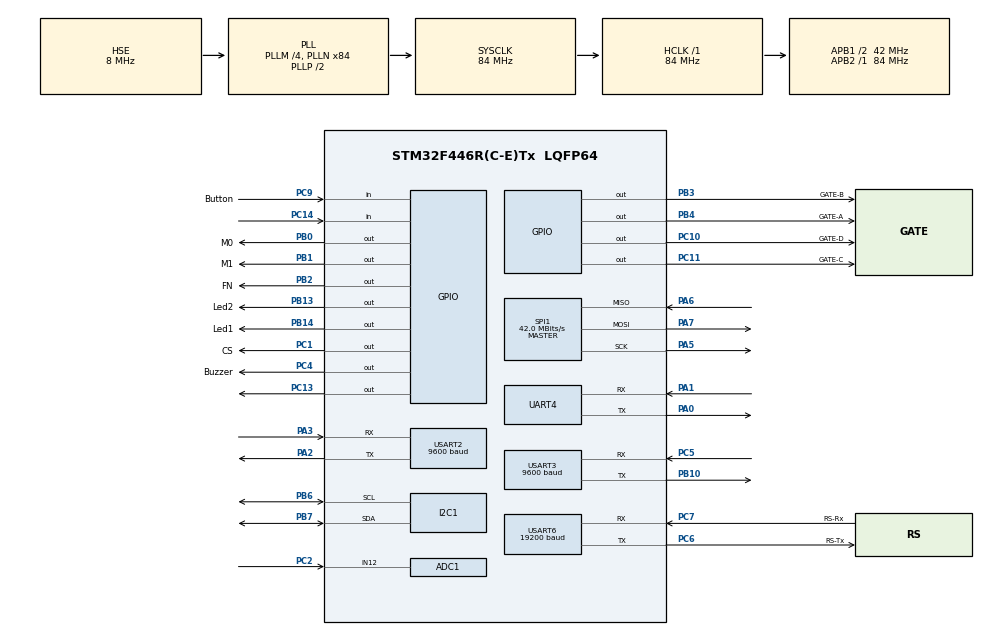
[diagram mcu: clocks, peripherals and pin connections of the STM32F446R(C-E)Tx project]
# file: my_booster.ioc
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ADC1.Channel-0\#ChannelRegularConversion=ADC_CHANNEL_12
ADC1.ContinuousConvMode=ENABLE
ADC1.NbrOfConversionFlag=1
ADC1.Rank-0\#ChannelRegularConversion=1
ADC1.SamplingTime-0\#ChannelRegularConversion=ADC_SAMPLETIME_3CYCLES
ADC1.master=1
Dma.Request0=USART3_TX
Dma.USART3_TX.0.Direction=DMA_MEMORY_TO_PERIPH
Dma.USART3_TX.0.FIFOMode=DMA_FIFOMODE_DISABLE
Dma.USART3_TX.0.Instance=DMA1_Stream3
Dma.USART3_TX.0.MemDataAlignment=DMA_MDATAALIGN_BYTE
Dma.USART3_TX.0.MemInc=DMA_MINC_ENABLE
Dma.USART3_TX.0.Mode=DMA_NORMAL
Dma.USART3_TX.0.PeriphDataAlignment=DMA_PDATAALIGN_BYTE
Dma.USART3_TX.0.PeriphInc=DMA_PINC_DISABLE
Dma.USART3_TX.0.Priority=DMA_PRIORITY_LOW
I2C1.I2C_Mode=I2C_Fast
Mcu.Family=STM32F4
Mcu.Name=STM32F446R(C-E)Tx
Mcu.Package=LQFP64
NVIC.ADC_IRQn=true\:0\:0\:false\:false\:true\:true\:true\:true
NVIC.DMA1_Stream3_IRQn=true\:0\:0\:false\:false\:true\:false\:true\:true
NVIC.PriorityGroup=NVIC_PRIORITYGROUP_4
NVIC.TIM2_IRQn=true\:0\:0\:false\:false\:true\:true\:true\:true
NVIC.TIM3_IRQn=true\:0\:0\:false\:false\:true\:true\:true\:true
NVIC.TIM4_IRQn=true\:0\:0\:false\:false\:true\:true\:true\:true
NVIC.UART4_IRQn=true\:1\:0\:true\:false\:true\:true\:true\:true
NVIC.USART2_IRQn=true\:2\:0\:true\:false\:true\:true\:true\:true
NVIC.USART3_IRQn=true\:0\:0\:false\:false\:true\:true\:true\:true
NVIC.USART6_IRQn=true\:0\:0\:false\:false\:true\:true\:true\:true
PA0-WKUP.Mode=Asynchronous
PA0-WKUP.Signal=UART4_TX
PA1.Mode=Asynchronous
PA1.Signal=UART4_RX
PA13.Mode=Serial_Wire
PA13.Signal=SYS_JTMS-SWDIO
PA14.Mode=Serial_Wire
PA14.Signal=SYS_JTCK-SWCLK
PA2.Mode=Asynchronous
PA2.Signal=USART2_TX
PA3.Mode=Asynchronous
PA3.Signal=USART2_RX
PA5.Mode=Full_Duplex_Master
PA5.Signal=SPI1_SCK
PA6.Mode=Full_Duplex_Master
PA6.Signal=SPI1_MISO
PA7.Mode=Full_Duplex_Master
PA7.Signal=SPI1_MOSI
PB0.GPIO_Label=M0
PB0.Signal=GPIO_Output
PB1.GPIO_Label=M1
PB1.Signal=GPIO_Output
PB10.Mode=Asynchronous
PB10.Signal=USART3_TX
PB13.GPIO_Label=Led2
PB13.Signal=GPIO_Output
PB14.GPIO_Label=Led1
PB14.Signal=GPIO_Output
PB2.GPIO_Label=FN
PB2.Signal=GPIO_Output
PB3.GPIO_Label=GATE-B
PB3.Signal=GPIO_Output
PB4.GPIO_Label=GATE-A
PB4.Signal=GPIO_Output
PB6.Mode=I2C
PB6.Signal=I2C1_SCL
PB7.Mode=I2C
PB7.Signal=I2C1_SDA
PC1.GPIO_Label=CS
PC1.Signal=GPIO_Output
PC10.GPIO_Label=GATE-D
PC10.Signal=GPIO_Output
PC11.GPIO_Label=GATE-C
PC11.Signal=GPIO_Output
PC13.Signal=GPIO_Output
PC14-OSC32_IN.Signal=GPIO_Input
PC2.Signal=ADCx_IN12
PC4.GPIO_Label=Buzzer
PC4.Signal=GPIO_Output
PC5.Mode=Asynchronous
PC5.Signal=USART3_RX
PC6.GPIO_Label=RS-Tx
PC6.Mode=Asynchronous
PC6.Signal=USART6_TX
PC7.GPIO_Label=RS-Rx
PC7.Mode=Asynchronous
PC7.Signal=USART6_RX
PC9.GPIO_Label=Button
PC9.Signal=GPIO_Input
PH0-OSC_IN.Mode=HSE-External-Oscillator
PH0-OSC_IN.Signal=RCC_OSC_IN
PH1-OSC_OUT.Mode=HSE-External-Oscillator
PH1-OSC_OUT.Signal=RCC_OSC_OUT
ProjectManager.HeapSize=0x200
ProjectManager.StackSize=0x400
ProjectManager.TargetToolchain=STM32CubeIDE
RCC.AHBFreq_Value=84000000
RCC.APB1CLKDivider=RCC_HCLK_DIV2
RCC.APB1Freq_Value=42000000
RCC.APB1TimFreq_Value=84000000
RCC.APB2Freq_Value=84000000
RCC.APB2TimFreq_Value=84000000
RCC.CortexFreq_Value=84000000
RCC.HCLKFreq_Value=84000000
RCC.HSE_VALUE=8000000
RCC.PLLM=4
RCC.PLLN=84
RCC.PLLSourceVirtual=RCC_PLLSOURCE_HSE
RCC.SYSCLKFreq_VALUE=84000000
RCC.SYSCLKSource=RCC_SYSCLKSOURCE_PLLCLK
RCC.USBFreq_Value=84000000
RCC.VCOOutputFreq_Value=168000000
SH.ADCx_IN12.0=ADC1_IN12,IN12
SPI1.CalculateBaudRate=42.0 MBits/s
SPI1.Direction=SPI_DIRECTION_2LINES
SPI1.Mode=SPI_MODE_MASTER
SPI1.VirtualType=VM_MASTER
TIM2.Period=25000-1
TIM2.Prescaler=8400
TIM3.Period=300-1
TIM3.Prescaler=8400
TIM4.Period=2000-1
TIM4.Prescaler=8400
UART4.VirtualMode=Asynchronous
USART2.BaudRate=9600
USART2.VirtualMode=VM_ASYNC
USART3.BaudRate=9600
USART3.VirtualMode=VM_ASYNC
USART6.BaudRate=19200
USART6.VirtualMode=VM_ASYNC
VP_TIM2_VS_ClockSourceINT.Mode=Internal
VP_TIM3_VS_ClockSourceINT.Mode=Internal
VP_TIM4_VS_ClockSourceINT.Mode=Internal
board=custom

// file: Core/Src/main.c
/* USER CODE BEGIN Header */
/**
  ******************************************************************************
  * @file           : main.c
  * @brief          : Main program body
  ******************************************************************************
  * @attention
  *
  * Copyright (c) 2024 STMicroelectronics.
  * All rights reserved.
  *
  * This software is licensed under terms that can be found in the LICENSE file
  * in the root directory of this software component.
  * If no LICENSE file comes with this software, it is provided AS-IS.
  *
  ******************************************************************************
  */
/* USER CODE END Header */
#include "main.h"

/* USER CODE BEGIN Includes */
#include "lwgps/lwgps.h"
#include "LSM6DSLTR.h"
#include "./BME280/bme280.h"
#include "W25Qxx.h"
#include <math.h>
#include "stdio.h"
#include "string.h"
#include "kalman.h"
#include <stdlib.h>
/* USER CODE END Includes */

/* USER CODE BEGIN PTD */
#define LORA_TX_BUFFER_SIZE 75
#define EGU_RX_BUFFER_SIZE 34
#define RX_BUFFER_SIZE 128
#define DEVICE_ID 1

#define GyroAlfa	0.2 //0.01
#define AccAlfa		0.4 // 0.1
#define HP_alpha 	0.92f // 0.8 en iyi
#define LP_alpha 	0.55f // 0.4 en iyi
#define beta		0.85

#define CMD_SET_REG 0xC0 // COMMAND FOR SETTING REGISTER
#define CMD_READ_REG 0xC1 // COMMAND FOR READING REGISTER
#define REG_ADD_H 0x0 // DEVICE ADDRESS HIGH BYTE
#define REG_ADD_L 0x1 // DEVICE ADDRESS LOW BYTE
#define REG0 0x2 // UART CONFIGURATION REGISTER
#define REG1 0x3 // RF CONFIGURATION REGISTER
#define REG2 0x4 // CHANNEL CONTROL
#define REG3 0x5 // TRANSMISSION PARAMETER CONTROL
/* USER CODE END PTD */

ADC_HandleTypeDef hadc1;

I2C_HandleTypeDef hi2c1;

SPI_HandleTypeDef hspi1;

TIM_HandleTypeDef htim2;
TIM_HandleTypeDef htim3;
TIM_HandleTypeDef htim4;

UART_HandleTypeDef huart4;
UART_HandleTypeDef huart2;
UART_HandleTypeDef huart3;
UART_HandleTypeDef huart6;
DMA_HandleTypeDef hdma_usart3_tx;

/* USER CODE BEGIN PV */
uint8_t Lora_Tx_Buffer[LORA_TX_BUFFER_SIZE];

uint8_t EGU_RX_BUFFER[EGU_RX_BUFFER_SIZE],
		rx_buffer_gps[RX_BUFFER_SIZE]	;

uint8_t rx_data_EGU=0 ,
		rx_data_gps=0 ;

uint8_t rx_index_EGU=0,
		rx_index_gps=0;

uint8_t flag_lora ,
		flag_megu ,
		flag_sensor_imu ,
		flag_sensor_barometre,
		flag_counter,
		flag_median,
		flag_new_imu_data,
		flag_new_barometre_data,
		flag_adc,
		flag_adc_cnt ,
		flag_rampa_altitude,
		flag_flash,
		flag_flash_200ms,
		flag_kontrol_5x;

float real_pitch, real_roll , toplam_pitch,toplam_roll , toplam_accX , toplam_accY , toplam_accZ, toplam_gX,toplam_gY,toplam_gZ ,rampa_accel,
toplam_normal,real_normal, x_max;
float offset_x,offset_y,offset_z, gyroX_prev, gyroY_prev,gyroZ_prev,
accX_prev, accY_prev,accZ_prev;
float filtered_gyroX ,filtered_gyroY,filtered_gyroZ, filtered_accX,
filtered_accY,filtered_accZ;
float filtered_gyro[3] , filtered_gyro_HP[3];
float filtered_acc_LP[3] , filtered_acc[3];
float gravity_normal_angle , prev_time1;

float gyroX_HP_prev = 0.0f, gyroY_HP_prev = 0.0f, gyroZ_HP_prev = 0.0f;
float filtered_gyro_HP_X = 0.0f, filtered_gyro_HP_Y = 0.0f, filtered_gyro_HP_Z = 0.0f;

float gyroX_LP_prev = 0.0f, gyroY_LP_prev = 0.0f, gyroZ_LP_prev = 0.0f , filtered_gyro_LP[3];

float pressure , temperature , humidity , altitude, altitude_kalman ,altitude_max, prev_alt , speed, speed_max, offset_altitude;
float adc, adc_pil_val;

int time,timer;
uint8_t battery;
/* USER CODE END PV */

void SystemClock_Config(void);
static void MX_GPIO_Init(void);
static void MX_DMA_Init(void);
static void MX_ADC1_Init(void);
static void MX_I2C1_Init(void);
static void MX_SPI1_Init(void);
static void MX_USART2_UART_Init(void);
static void MX_USART3_UART_Init(void);
static void MX_USART6_UART_Init(void);
static void MX_UART4_Init(void);
static void MX_TIM2_Init(void);
static void MX_TIM3_Init(void);
static void MX_TIM4_Init(void);
/* USER CODE BEGIN PFP */
void imu_offset(void);
void Altitude_Offset();
void user_delay_ms(uint32_t period);
void imu_filter_calculate();
void union_converter();

void HAL_ADC_ConvCpltCallback(ADC_HandleTypeDef* hadc);
void HAL_UART_RxCpltCallback(UART_HandleTypeDef *huart);
void HAL_TIM_PeriodElapsedCallback(TIM_HandleTypeDef *htim);

int8_t user_i2c_read(uint8_t id, uint8_t reg_addr, uint8_t *data, uint16_t len);
int8_t user_i2c_write(uint8_t id, uint8_t reg_addr, uint8_t *data, uint16_t len);
int8_t E220_read_register(uint8_t reg);
int8_t E220_write_register(uint8_t reg,uint8_t parameter);

float BME280_Get_Altitude(void);

/* USER CODE END PFP */

/* USER CODE BEGIN 0 */

typedef union{
  float fVal;
  unsigned char array[4];
}float2unit8;
float2unit8 conv;

enum ZORLU2024
{
	RAMPA,UCUS,BURNOUT,AYIR,AYRILDI_MI,AYRILDI,AYRILMADI,FINISH
};
enum ZORLU2024 BOOSTER;

lwgps_t gps;

KalmanFilter kf , na , pa , ax,ay,az,gx,gy,gz;

LSM6DSLTR Lsm_Sensor;

struct bme280_dev dev;
struct bme280_data comp_data;

int8_t rslt=0,receive_data;

/* USER CODE END 0 */

int main(void)
{

  /* MCU Configuration--------------------------------------------------------*/

  /* Reset of all peripherals, Initializes the Flash interface and the Systick. */
  HAL_Init();

  /* Configure the system clock */
  SystemClock_Config();

  /* Initialize all configured peripherals */
  MX_GPIO_Init();
  MX_DMA_Init();
  MX_ADC1_Init();
  MX_I2C1_Init();
  MX_SPI1_Init();
  MX_USART2_UART_Init();
  MX_USART3_UART_Init();
  MX_USART6_UART_Init();
  MX_UART4_Init();
  MX_TIM2_Init();
  MX_TIM3_Init();
  MX_TIM4_Init();
  /* USER CODE BEGIN 2 */

  HAL_Delay(100);
  receive_data =E220_write_register(0x2, 0x62);
  HAL_Delay(100);

   receive_data =E220_write_register(0x2, 0x64);
   HAL_Delay(100);
  receive_data =E220_write_register(0x3, 0x40);
  HAL_Delay(100);
  receive_data =E220_write_register(0x4, 0x10); // ch
  HAL_Delay(100);
  receive_data =E220_write_register(0x5, 0x40);//40
  HAL_Delay(100);
  receive_data =E220_write_register(0x6, 0x00);
  HAL_Delay(100);
  receive_data =E220_write_register(0x7, 0x00);
  HAL_Delay(100);
  receive_data =E220_write_register(0, 0x02); // h 0x06
  HAL_Delay(100);

  receive_data =E220_write_register(0x1, 0x03); // low 0x03
  HAL_Delay(200);

  receive_data = E220_read_register(0);
  HAL_Delay(100);
  receive_data = E220_read_register(1);
  HAL_Delay(100);
  HAL_GPIO_WritePin(GPIOB, GPIO_PIN_0, SET);//m0
  HAL_Delay(100);
  HAL_GPIO_WritePin(GPIOB, GPIO_PIN_1, RESET); //m1
  HAL_Delay(100);

  KalmanFilter_Init(&ax, 0.2, 2, toplam_accX);
  KalmanFilter_Init(&ay, 0.2, 2, toplam_accY);
  KalmanFilter_Init(&az, 0.2, 2, toplam_accZ);
  KalmanFilter_Init(&gx, 0.2, 2, toplam_gX);
  KalmanFilter_Init(&gy, 0.2, 2, toplam_gY);
  KalmanFilter_Init(&gz, 0.2, 2, toplam_gZ);
  KalmanFilter_Init(&kf, 0.2, 1, toplam_gZ);

  lwgps_init(&gps);

  LSM6DSLTR_Init();

  dev.dev_id = BME280_I2C_ADDR_PRIM;
  dev.intf = BME280_I2C_INTF;
  dev.read = user_i2c_read;
  dev.write = user_i2c_write;
  dev.delay_ms = user_delay_ms;
  rslt = bme280_init(&dev);

  dev.settings.osr_h = BME280_OVERSAMPLING_1X;
  dev.settings.osr_p = BME280_OVERSAMPLING_4X;
  dev.settings.osr_t = BME280_OVERSAMPLING_2X;
  dev.settings.filter = BME280_FILTER_COEFF_16;
  rslt = bme280_set_sensor_settings(BME280_OSR_PRESS_SEL | BME280_OSR_TEMP_SEL | BME280_OSR_HUM_SEL | BME280_FILTER_SEL, &dev);

  imu_offset();
  Altitude_Offset();

	Lora_Tx_Buffer[0]=0x06;
	Lora_Tx_Buffer[1]=0x03; // 2A
	Lora_Tx_Buffer[2]=0x10; // 10
	Lora_Tx_Buffer[3]=DEVICE_ID;
	Lora_Tx_Buffer[50]=0x32;// v4mod
	Lora_Tx_Buffer[74]='\n';

 // Buzzer_PlayStartSound();

  HAL_TIM_Base_Start_IT(&htim2);
  HAL_TIM_Base_Start_IT(&htim3);
  HAL_TIM_Base_Start_IT(&htim4);

  HAL_ADC_Start_IT(&hadc1);

  HAL_GPIO_TogglePin(GPIOC, GPIO_PIN_4);
  HAL_Delay(1000);
  HAL_GPIO_TogglePin(GPIOC, GPIO_PIN_4);
      HAL_Delay(1000);
    HAL_GPIO_TogglePin(GPIOC, GPIO_PIN_4);
      HAL_Delay(1000);
      HAL_GPIO_TogglePin(GPIOC, GPIO_PIN_4);

        HAL_Delay(1000);
        HAL_GPIO_TogglePin(GPIOC, GPIO_PIN_4);

          HAL_Delay(1000);

          HAL_GPIO_TogglePin(GPIOC, GPIO_PIN_4);
            HAL_Delay(1000);

            HAL_GPIO_TogglePin(GPIOC, GPIO_PIN_4);
              HAL_Delay(1000);
              HAL_GPIO_TogglePin(GPIOC, GPIO_PIN_4);
                HAL_Delay(1000);
                HAL_GPIO_TogglePin(GPIOC, GPIO_PIN_4);
                  HAL_Delay(1000);
                  HAL_GPIO_TogglePin(GPIOC, GPIO_PIN_4);
                    HAL_Delay(1000);
                    HAL_GPIO_WritePin(GPIOB, GPIO_PIN_4, SET);
                    HAL_Delay(100);
                    HAL_GPIO_WritePin(GPIOB, GPIO_PIN_4, RESET);
  /* USER CODE END 2 */

  /* Infinite loop */
  while (1)
  {

    /* USER CODE BEGIN 3 */
/*************************************************************************************/
	  if(flag_sensor_imu ==1)
	  {

		  	  	  LSM6DSLTR_Read_Accel_Data(&Lsm_Sensor);
		 	      LSM6DSLTR_Read_Gyro_Data(&Lsm_Sensor);

		 	      toplam_accX += KalmanFilter_Update(&ax,Lsm_Sensor.Accel_X);
		 	      toplam_accY += KalmanFilter_Update(&ay,Lsm_Sensor.Accel_Y );
		 	      toplam_accZ += KalmanFilter_Update(&az,Lsm_Sensor.Accel_Z );
		 	      toplam_gX +=  KalmanFilter_Update(&gx,Lsm_Sensor.Gyro_X-offset_x  );
		 	      toplam_gY +=  KalmanFilter_Update(&gy,Lsm_Sensor.Gyro_Y -offset_y );
		 	      toplam_gZ +=  KalmanFilter_Update(&gz,Lsm_Sensor.Gyro_Z -offset_z );

		 	      flag_median++;

		 	      if(flag_median == 10)
		 	      {
		 	    	  rampa_accel = toplam_accX/10.0;
		 	    	  imu_filter_calculate();
		 	    	  flag_median=0;
		 	    	  flag_new_imu_data=1;
		 	      }

		 	      flag_sensor_imu = 0;

	  }
/*************************************************************************************/
	  if(flag_sensor_barometre == 1){

	 		  prev_alt = altitude;
	 		  rslt = bme280_set_sensor_mode(BME280_FORCED_MODE, &dev);
	 		  rslt = bme280_get_sensor_data(BME280_ALL, &comp_data, &dev);
	 		  if(rslt == BME280_OK )
	 		  {
	 			  temperature = comp_data.temperature / 100.00;
	 			  humidity = comp_data.humidity;
	 			  pressure = comp_data.pressure;
	 			  altitude = BME280_Get_Altitude() - offset_altitude;
	 			  altitude_kalman = KalmanFilter_Update(&kf, altitude);
	 			 // speed_time = (HAL_GetTick()-speed_time_prev)/1000.0f;
	 			  speed = (altitude - prev_alt) * 3.33;
	 			 // speed_time_prev = speed_time;
	 			 flag_new_barometre_data=1;
	 		  }
	 		  flag_sensor_barometre =0;
	 	  }

/*************************************************************************************/
	  if((gps.seconds %4) ==0 && flag_lora ==1)
	  {
		  time = HAL_GetTick();
		  HAL_GPIO_WritePin(GPIOB, GPIO_PIN_0, SET);
		  HAL_GPIO_WritePin(GPIOB, GPIO_PIN_1, RESET);
		  union_converter();
		 // HAL_UART_Transmit(&huart3, Lora_Tx_Buffer, LORA_TX_BUFFER_SIZE, HAL_MAX_DELAY);
		  //HAL_UART_Transmit_IT(&huart3, Lora_Tx_Buffer, LORA_TX_BUFFER_SIZE);
		  HAL_UART_Transmit_DMA(&huart3, Lora_Tx_Buffer, LORA_TX_BUFFER_SIZE);
		  flag_lora=0;
	  }

/*************************************************************************************/

	  if(altitude>altitude_max) altitude_max = altitude;

	 	  if(speed>speed_max) speed_max = speed;

	 	  if( Lsm_Sensor.Accel_X> x_max) x_max =  Lsm_Sensor.Accel_X;

	 	  if(flag_adc >=20 && flag_adc_cnt ==1)
	 	  {
	 		  if(adc > 2476) adc = 2234;
	 		  if(adc < 1755) adc = 1755;
	 		  // 6V = 1755 adc val 1,41V
	 		  // 8.4V = 2476 adc val 1,99V 0,58V
	 		 adc_pil_val=(float)( ( ( (adc/4095)*3.3)-1.41) / (1.99-1.41) ) *100 ; // pil conv
	 		 // adc_pil_val = (adc-1755)/(2746-1755)*100;
	 		 battery = adc_pil_val;
	 		 flag_adc_cnt =0;
	 		 flag_adc=0;
	 		 HAL_ADC_Start_IT(&hadc1);
	 	  }

	      if(altitude_kalman > 100 ) flag_rampa_altitude =1;

/*************************************************************************************/

	  switch(BOOSTER){

		  case RAMPA:
		   	  if(rampa_accel >10 && flag_new_imu_data ==1)
			  {
				  flag_new_imu_data =0;
				  flag_kontrol_5x++;
			  }

			  if(flag_kontrol_5x >=3)
			  {
				  flag_kontrol_5x =0;
				  BOOSTER=UCUS;
			  }

			  break;

		  case UCUS:
			    timer=HAL_GetTick();
			  	BOOSTER=BURNOUT;
			   break;

		  case BURNOUT:

			  if( ((HAL_GetTick()-timer)>=4500 && flag_rampa_altitude ==1) || ((HAL_GetTick()-timer)==6500) )
			  {
				  flag_kontrol_5x++;
			  }
			  if(flag_kontrol_5x >=5)
			  {
				  flag_kontrol_5x=0;

				  BOOSTER=AYIR;
			  }
			   break;

		  case AYIR:
			  HAL_GPIO_WritePin(GPIOB, GPIO_PIN_4, SET);
			  BOOSTER=AYRILDI;
			  timer = HAL_GetTick();
			   break;

		  case AYRILDI_MI:
			  if(HAL_GPIO_ReadPin(GPIOC, GPIO_PIN_14) == 0 && HAL_GetTick()-timer >=1000)
			  {
				  BOOSTER=AYRILDI;

			  }
			  else if (HAL_GPIO_ReadPin(GPIOC, GPIO_PIN_14) == 1 &&  HAL_GetTick()-timer >=4000)
			  {
				  BOOSTER=AYRILMADI;
			  }

			   break;

		  case AYRILDI:
			  if(altitude < altitude_max  && flag_new_barometre_data ==1)
			  {
				  flag_new_barometre_data =0;
				  flag_kontrol_5x++;
			  }
			  if(flag_kontrol_5x >=10)
			  {
				HAL_GPIO_WritePin(GPIOB, GPIO_PIN_3, SET);
				HAL_GPIO_WritePin(GPIOB, GPIO_PIN_4, RESET);
				flag_kontrol_5x=0;
				BOOSTER=FINISH;
			  }

			   break;

		  case AYRILMADI:
			  if(altitude <= 500  && flag_new_barometre_data ==1)
			  {
				  flag_new_barometre_data =0;
				  flag_kontrol_5x++;
			  }
			  if(flag_kontrol_5x >=5)
			  {
				HAL_GPIO_WritePin(GPIOC, GPIO_PIN_10, SET);
				HAL_GPIO_WritePin(GPIOB, GPIO_PIN_4, RESET);
				flag_kontrol_5x=0;
				BOOSTER=FINISH;
			  }

			   break;

		  case FINISH:
			  HAL_GPIO_WritePin(GPIOB, GPIO_PIN_3, RESET);
			  HAL_GPIO_WritePin(GPIOC, GPIO_PIN_10, RESET);
				   break;
	  }

  }
  /* USER CODE END 3 */
}

void SystemClock_Config(void)
{
  RCC_OscInitTypeDef RCC_OscInitStruct = {0};
  RCC_ClkInitTypeDef RCC_ClkInitStruct = {0};

  /** Configure the main internal regulator output voltage
  */
  __HAL_RCC_PWR_CLK_ENABLE();
  __HAL_PWR_VOLTAGESCALING_CONFIG(PWR_REGULATOR_VOLTAGE_SCALE3);

  /** Initializes the RCC Oscillators according to the specified parameters
  * in the RCC_OscInitTypeDef structure.
  */
  RCC_OscInitStruct.OscillatorType = RCC_OSCILLATORTYPE_HSE;
  RCC_OscInitStruct.HSEState = RCC_HSE_ON;
  RCC_OscInitStruct.PLL.PLLState = RCC_PLL_ON;
  RCC_OscInitStruct.PLL.PLLSource = RCC_PLLSOURCE_HSE;
  RCC_OscInitStruct.PLL.PLLM = 4;
  RCC_OscInitStruct.PLL.PLLN = 84;
  RCC_OscInitStruct.PLL.PLLP = RCC_PLLP_DIV2;
  RCC_OscInitStruct.PLL.PLLQ = 2;
  RCC_OscInitStruct.PLL.PLLR = 2;
  if (HAL_RCC_OscConfig(&RCC_OscInitStruct) != HAL_OK)
  {
    Error_Handler();
  }

  /** Initializes the CPU, AHB and APB buses clocks
  */
  RCC_ClkInitStruct.ClockType = RCC_CLOCKTYPE_HCLK|RCC_CLOCKTYPE_SYSCLK
                              |RCC_CLOCKTYPE_PCLK1|RCC_CLOCKTYPE_PCLK2;
  RCC_ClkInitStruct.SYSCLKSource = RCC_SYSCLKSOURCE_PLLCLK;
  RCC_ClkInitStruct.AHBCLKDivider = RCC_SYSCLK_DIV1;
  RCC_ClkInitStruct.APB1CLKDivider = RCC_HCLK_DIV2;
  RCC_ClkInitStruct.APB2CLKDivider = RCC_HCLK_DIV1;

  if (HAL_RCC_ClockConfig(&RCC_ClkInitStruct, FLASH_LATENCY_2) != HAL_OK)
  {
    Error_Handler();
  }
}

static void MX_ADC1_Init(void)
{

  ADC_ChannelConfTypeDef sConfig = {0};

  /** Configure the global features of the ADC (Clock, Resolution, Data Alignment and number of conversion)
  */
  hadc1.Instance = ADC1;
  hadc1.Init.ClockPrescaler = ADC_CLOCK_SYNC_PCLK_DIV4;
  hadc1.Init.Resolution = ADC_RESOLUTION_12B;
  hadc1.Init.ScanConvMode = DISABLE;
  hadc1.Init.ContinuousConvMode = ENABLE;
  hadc1.Init.DiscontinuousConvMode = DISABLE;
  hadc1.Init.ExternalTrigConvEdge = ADC_EXTERNALTRIGCONVEDGE_NONE;
  hadc1.Init.ExternalTrigConv = ADC_SOFTWARE_START;
  hadc1.Init.DataAlign = ADC_DATAALIGN_RIGHT;
  hadc1.Init.NbrOfConversion = 1;
  hadc1.Init.DMAContinuousRequests = DISABLE;
  hadc1.Init.EOCSelection = ADC_EOC_SINGLE_CONV;
  if (HAL_ADC_Init(&hadc1) != HAL_OK)
  {
    Error_Handler();
  }

  /** Configure for the selected ADC regular channel its corresponding rank in the sequencer and its sample time.
  */
  sConfig.Channel = ADC_CHANNEL_12;
  sConfig.Rank = 1;
  sConfig.SamplingTime = ADC_SAMPLETIME_3CYCLES;
  if (HAL_ADC_ConfigChannel(&hadc1, &sConfig) != HAL_OK)
  {
    Error_Handler();
  }

}

static void MX_I2C1_Init(void)
{

  hi2c1.Instance = I2C1;
  hi2c1.Init.ClockSpeed = 400000;
  hi2c1.Init.DutyCycle = I2C_DUTYCYCLE_2;
  hi2c1.Init.OwnAddress1 = 0;
  hi2c1.Init.AddressingMode = I2C_ADDRESSINGMODE_7BIT;
  hi2c1.Init.DualAddressMode = I2C_DUALADDRESS_DISABLE;
  hi2c1.Init.OwnAddress2 = 0;
  hi2c1.Init.GeneralCallMode = I2C_GENERALCALL_DISABLE;
  hi2c1.Init.NoStretchMode = I2C_NOSTRETCH_DISABLE;
  if (HAL_I2C_Init(&hi2c1) != HAL_OK)
  {
    Error_Handler();
  }

}

static void MX_SPI1_Init(void)
{

  /* SPI1 parameter configuration*/
  hspi1.Instance = SPI1;
  hspi1.Init.Mode = SPI_MODE_MASTER;
  hspi1.Init.Direction = SPI_DIRECTION_2LINES;
  hspi1.Init.DataSize = SPI_DATASIZE_8BIT;
  hspi1.Init.CLKPolarity = SPI_POLARITY_LOW;
  hspi1.Init.CLKPhase = SPI_PHASE_1EDGE;
  hspi1.Init.NSS = SPI_NSS_SOFT;
  hspi1.Init.BaudRatePrescaler = SPI_BAUDRATEPRESCALER_2;
  hspi1.Init.FirstBit = SPI_FIRSTBIT_MSB;
  hspi1.Init.TIMode = SPI_TIMODE_DISABLE;
  hspi1.Init.CRCCalculation = SPI_CRCCALCULATION_DISABLE;
  hspi1.Init.CRCPolynomial = 10;
  if (HAL_SPI_Init(&hspi1) != HAL_OK)
  {
    Error_Handler();
  }

}

static void MX_TIM2_Init(void)
{

  TIM_ClockConfigTypeDef sClockSourceConfig = {0};
  TIM_MasterConfigTypeDef sMasterConfig = {0};

  htim2.Instance = TIM2;
  htim2.Init.Prescaler = 8400;
  htim2.Init.CounterMode = TIM_COUNTERMODE_UP;
  htim2.Init.Period = 25000-1;
  htim2.Init.ClockDivision = TIM_CLOCKDIVISION_DIV1;
  htim2.Init.AutoReloadPreload = TIM_AUTORELOAD_PRELOAD_DISABLE;
  if (HAL_TIM_Base_Init(&htim2) != HAL_OK)
  {
    Error_Handler();
  }
  sClockSourceConfig.ClockSource = TIM_CLOCKSOURCE_INTERNAL;
  if (HAL_TIM_ConfigClockSource(&htim2, &sClockSourceConfig) != HAL_OK)
  {
    Error_Handler();
  }
  sMasterConfig.MasterOutputTrigger = TIM_TRGO_RESET;
  sMasterConfig.MasterSlaveMode = TIM_MASTERSLAVEMODE_DISABLE;
  if (HAL_TIMEx_MasterConfigSynchronization(&htim2, &sMasterConfig) != HAL_OK)
  {
    Error_Handler();
  }

}

static void MX_TIM3_Init(void)
{

  TIM_ClockConfigTypeDef sClockSourceConfig = {0};
  TIM_MasterConfigTypeDef sMasterConfig = {0};

  htim3.Instance = TIM3;
  htim3.Init.Prescaler = 8400;
  htim3.Init.CounterMode = TIM_COUNTERMODE_UP;
  htim3.Init.Period = 300-1;
  htim3.Init.ClockDivision = TIM_CLOCKDIVISION_DIV1;
  htim3.Init.AutoReloadPreload = TIM_AUTORELOAD_PRELOAD_DISABLE;
  if (HAL_TIM_Base_Init(&htim3) != HAL_OK)
  {
    Error_Handler();
  }
  sClockSourceConfig.ClockSource = TIM_CLOCKSOURCE_INTERNAL;
  if (HAL_TIM_ConfigClockSource(&htim3, &sClockSourceConfig) != HAL_OK)
  {
    Error_Handler();
  }
  sMasterConfig.MasterOutputTrigger = TIM_TRGO_RESET;
  sMasterConfig.MasterSlaveMode = TIM_MASTERSLAVEMODE_DISABLE;
  if (HAL_TIMEx_MasterConfigSynchronization(&htim3, &sMasterConfig) != HAL_OK)
  {
    Error_Handler();
  }

}

static void MX_TIM4_Init(void)
{

  TIM_ClockConfigTypeDef sClockSourceConfig = {0};
  TIM_MasterConfigTypeDef sMasterConfig = {0};

  htim4.Instance = TIM4;
  htim4.Init.Prescaler = 8400;
  htim4.Init.CounterMode = TIM_COUNTERMODE_UP;
  htim4.Init.Period = 2000-1;
  htim4.Init.ClockDivision = TIM_CLOCKDIVISION_DIV1;
  htim4.Init.AutoReloadPreload = TIM_AUTORELOAD_PRELOAD_DISABLE;
  if (HAL_TIM_Base_Init(&htim4) != HAL_OK)
  {
    Error_Handler();
  }
  sClockSourceConfig.ClockSource = TIM_CLOCKSOURCE_INTERNAL;
  if (HAL_TIM_ConfigClockSource(&htim4, &sClockSourceConfig) != HAL_OK)
  {
    Error_Handler();
  }
  sMasterConfig.MasterOutputTrigger = TIM_TRGO_RESET;
  sMasterConfig.MasterSlaveMode = TIM_MASTERSLAVEMODE_DISABLE;
  if (HAL_TIMEx_MasterConfigSynchronization(&htim4, &sMasterConfig) != HAL_OK)
  {
    Error_Handler();
  }

}

static void MX_UART4_Init(void)
{

  huart4.Instance = UART4;
  huart4.Init.BaudRate = 115200;
  huart4.Init.WordLength = UART_WORDLENGTH_8B;
  huart4.Init.StopBits = UART_STOPBITS_1;
  huart4.Init.Parity = UART_PARITY_NONE;
  huart4.Init.Mode = UART_MODE_TX_RX;
  huart4.Init.HwFlowCtl = UART_HWCONTROL_NONE;
  huart4.Init.OverSampling = UART_OVERSAMPLING_16;
  if (HAL_UART_Init(&huart4) != HAL_OK)
  {
    Error_Handler();
  }

}

static void MX_USART2_UART_Init(void)
{

  huart2.Instance = USART2;
  huart2.Init.BaudRate = 9600;
  huart2.Init.WordLength = UART_WORDLENGTH_8B;
  huart2.Init.StopBits = UART_STOPBITS_1;
  huart2.Init.Parity = UART_PARITY_NONE;
  huart2.Init.Mode = UART_MODE_TX_RX;
  huart2.Init.HwFlowCtl = UART_HWCONTROL_NONE;
  huart2.Init.OverSampling = UART_OVERSAMPLING_16;
  if (HAL_UART_Init(&huart2) != HAL_OK)
  {
    Error_Handler();
  }

}

static void MX_USART3_UART_Init(void)
{

  huart3.Instance = USART3;
  huart3.Init.BaudRate = 9600;
  huart3.Init.WordLength = UART_WORDLENGTH_8B;
  huart3.Init.StopBits = UART_STOPBITS_1;
  huart3.Init.Parity = UART_PARITY_NONE;
  huart3.Init.Mode = UART_MODE_TX_RX;
  huart3.Init.HwFlowCtl = UART_HWCONTROL_NONE;
  huart3.Init.OverSampling = UART_OVERSAMPLING_16;
  if (HAL_UART_Init(&huart3) != HAL_OK)
  {
    Error_Handler();
  }

}

static void MX_USART6_UART_Init(void)
{

  huart6.Instance = USART6;
  huart6.Init.BaudRate = 19200;
  huart6.Init.WordLength = UART_WORDLENGTH_8B;
  huart6.Init.StopBits = UART_STOPBITS_1;
  huart6.Init.Parity = UART_PARITY_NONE;
  huart6.Init.Mode = UART_MODE_TX_RX;
  huart6.Init.HwFlowCtl = UART_HWCONTROL_NONE;
  huart6.Init.OverSampling = UART_OVERSAMPLING_16;
  if (HAL_UART_Init(&huart6) != HAL_OK)
  {
    Error_Handler();
  }

}

static void MX_DMA_Init(void)
{

  /* DMA controller clock enable */
  __HAL_RCC_DMA1_CLK_ENABLE();

  /* DMA interrupt init */
  /* DMA1_Stream3_IRQn interrupt configuration */
  HAL_NVIC_SetPriority(DMA1_Stream3_IRQn, 0, 0);
  HAL_NVIC_EnableIRQ(DMA1_Stream3_IRQn);

}

static void MX_GPIO_Init(void)
{
  GPIO_InitTypeDef GPIO_InitStruct = {0};

  /* GPIO Ports Clock Enable */
  __HAL_RCC_GPIOC_CLK_ENABLE();
  __HAL_RCC_GPIOH_CLK_ENABLE();
  __HAL_RCC_GPIOA_CLK_ENABLE();
  __HAL_RCC_GPIOB_CLK_ENABLE();

  /*Configure GPIO pin Output Level */
  HAL_GPIO_WritePin(GPIOC, GPIO_PIN_13|CS_Pin|Buzzer_Pin|GATE_D_Pin
                          |GATE_C_Pin, GPIO_PIN_RESET);

  /*Configure GPIO pin Output Level */
  HAL_GPIO_WritePin(GPIOB, M0_Pin|M1_Pin|FN_Pin|Led2_Pin
                          |Led1_Pin|GATE_B_Pin|GATE_A_Pin, GPIO_PIN_RESET);

  /*Configure GPIO pins : PC13 CS_Pin Buzzer_Pin GATE_D_Pin
                           GATE_C_Pin */
  GPIO_InitStruct.Pin = GPIO_PIN_13|CS_Pin|Buzzer_Pin|GATE_D_Pin
                          |GATE_C_Pin;
  GPIO_InitStruct.Mode = GPIO_MODE_OUTPUT_PP;
  GPIO_InitStruct.Pull = GPIO_NOPULL;
  GPIO_InitStruct.Speed = GPIO_SPEED_FREQ_LOW;
  HAL_GPIO_Init(GPIOC, &GPIO_InitStruct);

  /*Configure GPIO pins : PC14 Button_Pin */
  GPIO_InitStruct.Pin = GPIO_PIN_14|Button_Pin;
  GPIO_InitStruct.Mode = GPIO_MODE_INPUT;
  GPIO_InitStruct.Pull = GPIO_NOPULL;
  HAL_GPIO_Init(GPIOC, &GPIO_InitStruct);

  /*Configure GPIO pins : M0_Pin M1_Pin FN_Pin Led2_Pin
                           Led1_Pin GATE_B_Pin GATE_A_Pin */
  GPIO_InitStruct.Pin = M0_Pin|M1_Pin|FN_Pin|Led2_Pin
                          |Led1_Pin|GATE_B_Pin|GATE_A_Pin;
  GPIO_InitStruct.Mode = GPIO_MODE_OUTPUT_PP;
  GPIO_InitStruct.Pull = GPIO_NOPULL;
  GPIO_InitStruct.Speed = GPIO_SPEED_FREQ_LOW;
  HAL_GPIO_Init(GPIOB, &GPIO_InitStruct);

}

/* USER CODE BEGIN 4 */
void HAL_TIM_PeriodElapsedCallback(TIM_HandleTypeDef *htim)
{

	if(htim==&htim2)// Lora timer
	{
		flag_lora=1;
	}

	if(htim==&htim3)// sensor timer 30ms
	{
		flag_sensor_imu=1;

		flag_counter++;
		if(flag_counter == 10)
		{
			flag_sensor_barometre =1;
			flag_counter=0;
		}
	}

	if(htim==&htim4)// megü timer
	{
		flag_megu=1;
		flag_adc++;
		flag_flash_200ms=1;
	}

}

void HAL_UART_RxCpltCallback(UART_HandleTypeDef *huart)
{
	if(huart==&huart2){
	if(rx_data_gps != '\n' && rx_index_gps < RX_BUFFER_SIZE) {
		rx_buffer_gps[rx_index_gps++] = rx_data_gps;
	} else {
		lwgps_process(&gps, rx_buffer_gps, rx_index_gps+1);
		rx_index_gps = 0;
		rx_data_gps = 0;
	}
	HAL_UART_Receive_IT(&huart2, &rx_data_gps, 1);
	}

	if(huart == &huart6){
		if(rx_data_EGU != '\n' && rx_index_EGU <34){//sol taraf silinebilir
			EGU_RX_BUFFER[rx_index_EGU++]=rx_data_EGU;

		}
		else
		{
			rx_data_EGU=0;
			rx_index_EGU=0;

		}
	HAL_UART_Receive_IT(&huart6, &rx_data_EGU, 1);
		}
}

void HAL_ADC_ConvCpltCallback(ADC_HandleTypeDef* hadc)
{
	if(hadc->Instance == ADC1 )
	{
		adc= HAL_ADC_GetValue(&hadc1);
		flag_adc_cnt = 1;
	}
}

int8_t E220_write_register(uint8_t reg,uint8_t parameter)
{

	HAL_GPIO_WritePin(GPIOB, GPIO_PIN_0, SET);
	HAL_GPIO_WritePin(GPIOB, GPIO_PIN_1, SET);

	HAL_Delay(3);

	uint8_t send_data[4]={CMD_SET_REG,reg,1,parameter};
	uint8_t receive_data[4]={0};

	HAL_UART_Transmit(&huart3,send_data ,4, 100);
	HAL_UART_Receive(&huart3, receive_data, 4, 100);

	if(receive_data[0]==CMD_READ_REG && receive_data[1]==reg && receive_data[2]==1 && receive_data[3] == parameter)
		return receive_data[3];
	else
		return -1;

}
int8_t E220_read_register(uint8_t reg)
{

	uint8_t send_data[3]={CMD_READ_REG,reg,1};
	uint8_t receive_data[4]={0};
	HAL_UART_Transmit(&huart3,send_data ,3, 100);

	HAL_UART_Receive(&huart3, receive_data, 4, 100);

	if(receive_data[0]==CMD_READ_REG && receive_data[1]==reg && receive_data[2]==1)
		return receive_data[3];
	else
		return -1;
}

void imu_offset(void)

{
	  for(int i = 0; i<5;i++)
	  {

		      LSM6DSLTR_Read_Gyro_Data(&Lsm_Sensor);

		      offset_x += Lsm_Sensor.Gyro_X;
			  offset_y += Lsm_Sensor.Gyro_Y;
			  offset_z += Lsm_Sensor.Gyro_Z;
			  HAL_Delay(10);
	  }
	  offset_x=offset_x/5;
	  offset_y=offset_y/5;
	  offset_z=offset_z/5;
}

void imu_filter_calculate()
{
	  filtered_gyro_LP[0] = LP_alpha * toplam_gX/10.0f + (1.0 - LP_alpha) * gyroX_LP_prev;
	  filtered_gyro_LP[1] = LP_alpha * toplam_gY/10.0f + (1.0 - LP_alpha) * gyroY_LP_prev ;
	  filtered_gyro_LP[2] = LP_alpha * toplam_gZ/10.0f + (1.0 - LP_alpha) * gyroZ_LP_prev;

	/*************************** ********************************/
	  filtered_gyro_HP_X = beta * (gyroX_HP_prev +  filtered_gyro_LP[0] - gyroX_LP_prev);
	  filtered_gyro_HP_Y = beta * (gyroY_HP_prev + filtered_gyro_LP[1] - gyroY_LP_prev);
	  filtered_gyro_HP_Z = beta * (gyroZ_HP_prev +  filtered_gyro_LP[2] - gyroZ_LP_prev);

	  gyroX_LP_prev =  filtered_gyro_LP[0];
	  gyroY_LP_prev =  filtered_gyro_LP[1];
	  gyroZ_LP_prev =  filtered_gyro_LP[2];

	  // Low pass filter for accelerometer data
	  filtered_acc_LP[0] = LP_alpha * filtered_acc_LP[0] + (1 - LP_alpha) *  toplam_accX / 10.0;
	  filtered_acc_LP[1] = LP_alpha * filtered_acc_LP[1] + (1 - LP_alpha) *  toplam_accY / 10.0;
	  filtered_acc_LP[2] = LP_alpha * filtered_acc_LP[2] + (1 - LP_alpha) *  toplam_accZ / 10.0;

	  gyroX_HP_prev = filtered_gyro_HP_X;
	  gyroY_HP_prev = filtered_gyro_HP_Y;
	  gyroZ_HP_prev = filtered_gyro_HP_Z;

	  real_roll = atan2f(filtered_acc_LP[1], sqrtf(filtered_acc_LP[0] * filtered_acc_LP[0] + filtered_acc_LP[2] * filtered_acc_LP[2] +  1e-10)) * 180.0f / 3.14;
	  real_pitch = atan2f(-filtered_acc_LP[0], sqrtf(filtered_acc_LP[1] * filtered_acc_LP[1] + filtered_acc_LP[2] * filtered_acc_LP[2]+ 1e-10)) * 180.0f / 3.14;

	  uint32_t current_time = HAL_GetTick(); // current time
	  float dt = (current_time - prev_time1) / 1000.0f;

	  real_roll = ALPHA * (real_roll + filtered_gyro_HP_X * dt) + (1 - ALPHA) * real_roll;
	  real_pitch = ALPHA * (real_pitch + filtered_gyro_HP_Y * dt) + (1 - ALPHA) * real_pitch;

	  prev_time1 = current_time;
	  gravity_normal_angle = sqrtf(real_roll * real_roll + real_pitch * real_pitch);

	  toplam_roll = 0;
	  toplam_pitch = 0;
	  toplam_accX = 0;
	  toplam_accY = 0;
	  toplam_accZ = 0;
	  toplam_gX = 0;
	  toplam_gY = 0;
	  toplam_gZ = 0;
}

void Altitude_Offset()
{
	for(uint8_t i=0;i<10;i++)
	{
		HAL_Delay(40);
	  rslt = bme280_set_sensor_mode(BME280_FORCED_MODE, &dev);
	  rslt = bme280_get_sensor_data(BME280_ALL, &comp_data, &dev);
	  if(rslt == BME280_OK)
	  { pressure = comp_data.pressure;
	    offset_altitude=BME280_Get_Altitude();
	  }
	}
}

void user_delay_ms(uint32_t period)
{
  HAL_Delay(period);
}

void union_converter(void)
{
	  Lora_Tx_Buffer[4]= gps.sats_in_view;
	 float2unit8 f2u8_gpsalt;
    f2u8_gpsalt.fVal=gps.altitude;
		 for(uint8_t i=0;i<4;i++)
		 {
			 Lora_Tx_Buffer[i+5]=f2u8_gpsalt.array[i];
		 }

	 float2unit8 f2u8_latitude;
	 f2u8_latitude.fVal=gps.latitude;
		 for(uint8_t i=0;i<4;i++)
		 {
			 Lora_Tx_Buffer[i+9]=f2u8_latitude.array[i];
		 }

	 float2unit8 f2u8_longitude;
	 f2u8_longitude.fVal=gps.longitude;
		 for(uint8_t i=0;i<4;i++)
		 {
			 Lora_Tx_Buffer[i+13]=f2u8_longitude.array[i];
		 }

	 float2unit8 f2u8_altitude;
	 f2u8_altitude.fVal=altitude;
		 for(uint8_t i=0;i<4;i++)
		 {
			 Lora_Tx_Buffer[i+17]=f2u8_altitude.array[i];
		 }
	 float2unit8 f2u8_speed;
	 f2u8_speed.fVal=speed;
		 for(uint8_t i=0;i<4;i++)
		 {
			 Lora_Tx_Buffer[i+21]=f2u8_speed.array[i];
		 }

	 float2unit8 f2u8_temp;
	 f2u8_temp.fVal=temperature;
		 for(uint8_t i=0;i<4;i++)
		 {
			 Lora_Tx_Buffer[i+25]=f2u8_temp.array[i];
		 }

	 float2unit8 f2u8_accx;
	 f2u8_accx.fVal=Lsm_Sensor.Accel_X;
		 for(uint8_t i=0;i<4;i++)
		 {
			 Lora_Tx_Buffer[i+29]=f2u8_accx.array[i];
		 }

	 float2unit8 f2u8_accy;
	 f2u8_accy.fVal=Lsm_Sensor.Accel_Y;
	 	 for(uint8_t i=0;i<4;i++)
		 {
	 		Lora_Tx_Buffer[i+33]=f2u8_accy.array[i];
		 }

	 float2unit8 f2u8_accz;
	 f2u8_accz.fVal=Lsm_Sensor.Accel_Z;
	 	 for(uint8_t i=0;i<4;i++)
		 {
	 		Lora_Tx_Buffer[i+37]=f2u8_accz.array[i];
		 }

	 float2unit8 f2u8_roll;
	 f2u8_roll.fVal=gravity_normal_angle;// real roll
		 for(uint8_t i=0;i<4;i++)
		 {
			 Lora_Tx_Buffer[i+41]=f2u8_roll.array[i];
		 }
	 float2unit8 f2u8_pitch;
	 f2u8_pitch.fVal=real_pitch;
		 for(uint8_t i=0;i<4;i++)
		 {
			 Lora_Tx_Buffer[i+45]=f2u8_pitch.array[i];
		 }

		 f2u8_altitude.fVal=altitude_max;

		 Lora_Tx_Buffer[69] = f2u8_altitude.array[0];
		 Lora_Tx_Buffer[70] = f2u8_altitude.array[1];
		 Lora_Tx_Buffer[71] = f2u8_altitude.array[2];
		 Lora_Tx_Buffer[72] = f2u8_altitude.array[3];

		 Lora_Tx_Buffer[49] = battery;

}

int8_t user_i2c_read(uint8_t id, uint8_t reg_addr, uint8_t *data, uint16_t len)
{
  if(HAL_I2C_Master_Transmit(&hi2c1, (id << 1), &reg_addr, 1, 10) != HAL_OK) return -1;
  if(HAL_I2C_Master_Receive(&hi2c1, (id << 1) | 0x01, data, len, 10) != HAL_OK) return -1;

  return 0;
}

int8_t user_i2c_write(uint8_t id, uint8_t reg_addr, uint8_t *data, uint16_t len)
{
  int8_t *buf;
  buf = malloc(len +1);
  buf[0] = reg_addr;
  memcpy(buf +1, data, len);

  if(HAL_I2C_Master_Transmit(&hi2c1, (id << 1), (uint8_t*)buf, len + 1, HAL_MAX_DELAY) != HAL_OK) return -1;

  free(buf);
  return 0;
}

float BME280_Get_Altitude(void)
{
	float press = comp_data.pressure / 10000.0;
	float temp = comp_data.temperature / 100.0;
	float alt = 44330 * (1 - pow((press / 1013.25),(1/5.255)));
	//alt = ((pow((P0/press), (1/5.257))-1) * (temp + 273.15)) / 0.0065;

	return (alt);
}

/* USER CODE END 4 */

void Error_Handler(void)
{
  __disable_irq();
  while (1)
  {
  }
}
